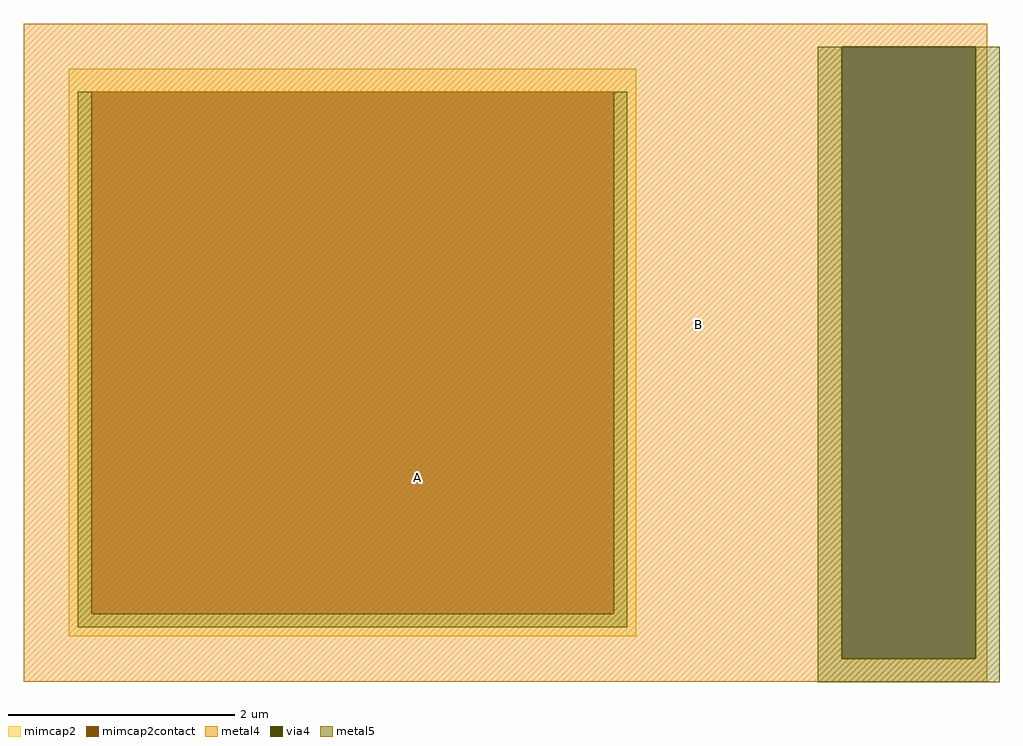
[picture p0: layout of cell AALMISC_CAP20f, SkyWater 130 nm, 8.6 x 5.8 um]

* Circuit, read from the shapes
.subckt AALMISC_CAP20f A B
XC1 A B sky130_fd_pr__cap_mim_m3_2 w=5 l=5
.ends

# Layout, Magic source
magic
tech sky130A
magscale 1 2
<< metal4 >>
rect -849 539 849 580
rect -849 -539 593 539
rect 829 -539 849 539
rect -849 -580 849 -539
<< via4 >>
rect 593 -539 829 539
<< mimcap2 >>
rect -769 460 231 500
rect -769 -460 -729 460
rect 191 -460 231 460
rect -769 -500 231 -460
<< mimcap2contact >>
rect -729 -460 191 460
<< metal5 >>
rect -753 -460 -729 460
rect 191 -460 215 460
rect -753 -484 215 -460
rect 551 -539 593 539
rect 829 -539 871 539
rect 551 -581 871 -539
<< labels >>
flabel metal5 s -849 -539 539 100 0 FreeSans 800 0 0 0 A
port 1 nsew signal bidirectional
flabel metal4 s 0 0 680 100 0 FreeSans 800 0 0 0 B
port 2 nsew signal bidirectional
<< properties >>
string FIXED_BBOX 0 0 2000 2000
<< end >>
